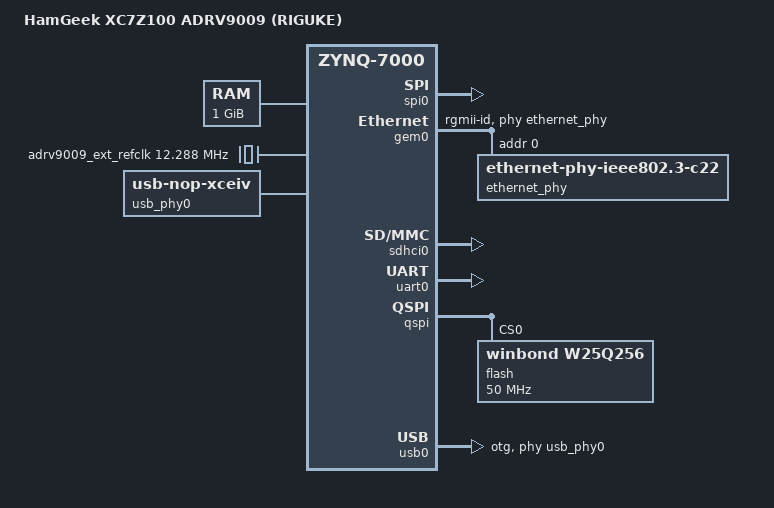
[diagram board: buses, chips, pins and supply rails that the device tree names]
// SPDX-License-Identifier: GPL-2.0
/*
 * Device Tree for the HamGeek XC7Z100 + ADRV9009 carrier ("RIGUKE XC7Z100").
 *
 *   Xilinx Zynq-7100 (XC7Z100, dual Cortex-A9, armhf) + ADI ADRV9009 RF.
 *
 * PS-ONLY, BY DESIGN. This file brings up the processor system so a generic
 * armhf EFI Debian boots off the SD -- 1 GiB DDR, UART0 console (ttyPS0),
 * QSPI (W25Q256), SD (sdhci0), GEM0 RGMII ethernet to a PHY at MDIO addr 0,
 * USB0 OTG (ULPI), and PS SPI0 (the bus the radio's AD9528 + ADRV9009 sit
 * on).
 *
 * THIS FILE MUST STAY PROPERTY-IDENTICAL to U-Boot's
 * arch/arm/dts/zynq-adrv9009.dts (v2026.07/lc-master), because U-Boot hands
 * its built-in control FDT to the kernel through the EFI configuration table
 * -- the tree Linux actually runs on is U-Boot's, not this one. This file is
 * the source of truth and the reference copy; if one changes, change the
 * other.
 *
 * The legitimate differences are EXACTLY these, and this list is EXHAUSTIVE
 * -- it is the mirror of the identically-exhaustive list in U-Boot's copy,
 * and the two must be kept in step. Everything not named here must match
 * property for property (node ORDER may differ; it has no semantic effect):
 *   - bootph-all markers on the PS boot essentials (memory@0, &uart0, &clkc,
 *     &gpio0, &qspi + flash@0, &sdhci0), so fdtgrep keeps them in the
 *     trimmed SPL DTB. &gpio0 exists in U-Boot's copy ONLY to carry that
 *     marker, which is why this tree has no &gpio0 node at all;
 *   - an absolute chosen/stdout-path there ("/axi/serial@e0000000:115200n8")
 *     vs the serial0: alias here, because the fdtgrep-built SPL DTB may drop
 *     /aliases;
 *   - &adc #thermal-sensor-cells and the &devcfg clock override, which exist
 *     there only because U-Boot's zynq-7000.dtsi is kept upstream-clean
 *     while the kernel's carries the equivalent (this tree gets
 *     #thermal-sensor-cells from zynq-7000.dtsi, commit 4bbee7b8de705);
 *   - the efuse@f800d000 node, inert upstream .dtsi content U-Boot inherited
 *     and binds no driver to.
 *
 * Two things that are NOT differences, and must not be reintroduced as such:
 * the /reserved-memory/linux,cma pool below is MIRRORED into U-Boot's copy
 * (7a43d5581a3) and the two are identical property for property; and the QSPI
 * flash node declares NO partition map in EITHER tree -- see the comment on
 * flash@0 for the measurement that removed it.
 *
 * The whole RF datapath is PL-DEPENDENT and lives in the userspace PL overlay
 * (rfsim/tools/adrv9009/adrv9009-pl.dts in the soft8021x repo), applied by
 * /usr/local/bin/adrv9009-fpga-up: the fpga-axi JESD204B subsystem (3x
 * axi-jesd204, 3x axi-adxcvr, 3x axi-clkgen, the adrv9009 rx/tx/obs cores, 3x
 * axi-dmac) AND the two spi0 device nodes. The SPI devices go there too, not
 * here, because the ADRV9009 phy's device clocks (jesd_rx_clk / jesd_tx_clk /
 * jesd_rx_os_clk) are outputs of the PL JESD204B link cores and the AD9528's
 * reset line is an EMIO GPIO -- both are PL. This board boots with a DARK PL
 * (nothing programs it in the bootloader), and describing PL IP in the base
 * DTB is exactly what wedges it (see the plan doc's matched-pair note).
 *
 * PS wiring ground-truthed against the board's stock DTB (decompiled ADI
 * tree): serial0 = serial@e0000000 (UART0, ttyPS0); mmc@e0100000 okay with a
 * working card-detect (no broken-cd); gem0 @e000b000 rgmii-id, PHY@0 c22;
 * qspi @e000d000 W25Q256; clkc fclk-enable = 0xf -- the one place we
 * DELIBERATELY diverge from stock, see the &clkc comment below. Node labels from
 * arch/arm/boot/dts/xilinx/zynq-7000.dtsi. The reduced Zynq armhf config is
 * the shared arch/arm/configs/zynq_e310_defconfig (ARCH_ZYNQ, EFI_STUB, the
 * ttyPS/GEM/SDHCI/QSPI essentials), same as the ANTSDR E310.
 */
/dts-v1/;
#include "zynq-7000.dtsi"
#include <dt-bindings/gpio/gpio.h>

/ {
	model = "HamGeek XC7Z100 ADRV9009 (RIGUKE)";
	compatible = "hamgeek,xc7z100-adrv9009", "xlnx,zynq-7000";

	aliases {
		ethernet0 = &gem0;
		serial0 = &uart0;
		spi0 = &qspi;
		mmc0 = &sdhci0;
	};

	chosen {
		stdout-path = "serial0:115200n8";
	};

	memory@0 {
		device_type = "memory";
		/* 1 GiB -- matches stock + the recovered ps7_init DDR config */
		reg = <0x0 0x40000000>;
	};

	/*
	 * CMA pool, SIZED FOR THIS RADIO -- not inherited.
	 *
	 * Zynq-7000 has NO IOMMU, so every AXI-DMAC buffer in the JESD204B
	 * datapath must be a single PHYSICALLY CONTIGUOUS region, and on this
	 * kernel that means CMA. Without this node the board silently takes the
	 * shared armhf default (CONFIG_CMA_SIZE_MBYTES=64 -- measured on the
	 * running board as "cma: Reserved 64 MiB at 0x39800000", CmaTotal
	 * 65536 kB), which policy treats as a FALLBACK for platforms that have
	 * no DMA sizing decision to make. This board does.
	 *
	 * The 96 MiB is derived from the peak CONCURRENT demand actually
	 * measured on this carrier, not chosen for roundness:
	 *
	 *   32 MiB  RX IIO buffer at the largest buffer/length accepted on
	 *           silicon -- 4194304 scans x 8 B/scan (RX1+RX2 I/Q, le:S16/16),
	 *           swept by adrv9009-rx-ratecheck.sh with the readback equal to
	 *           the request at every step and CMA consumption proportional.
	 *           iio_dma_buffer_request_update() splits it into exactly TWO
	 *           blocks (size = DIV_ROUND_UP(bytes_per_datum * length, 2)), so
	 *           the LARGEST SINGLE contiguous allocation is 16 MiB.
	 *    2 MiB  TX IIO buffer armed at the same time by the end-to-end
	 *           loopback (buffer/length = 262144 scans -> two 1 MiB blocks).
	 *    8 MiB  the cyclic-TX dma-buf. Ungapped playback goes through the IIO
	 *           DMABUF enqueue ioctl, whose exporter here is the CMA dma-buf
	 *           heap (CONFIG_DMABUF_HEAPS_CMA), and the cyclic prep rejects
	 *           nents != 1 -- so it is one contiguous region, sized to the
	 *           8 MiB write the TX datapath was validated with (277 ms,
	 *           TRANSFER_DONE = 0xF).
	 *   ------
	 *   42 MiB  peak concurrent, in units of up to 16 MiB.
	 *
	 * 42 MiB in a 64 MiB pool is 66 % occupancy at 16 MiB granularity, which
	 * leaves no room to place a second max-size block after any churn.
	 * Doubling the peak set and rounding up to a multiple of the largest
	 * single allocation gives 42 x 2 = 84 -> 96 MiB, i.e. 9.4 % of the 1 GiB
	 * on this board. No CMA allocation failure has been OBSERVED at 64 MiB;
	 * this is a sizing decision, not a bug fix.
	 *
	 * NO alloc-ranges, deliberately. All three axi-dmac masters are 32-bit
	 * AXI and the whole 1 GiB (0x0-0x3fffffff) is within their reach, so
	 * unlike Amlogic (whose VDEC must be pinned to the first 1 GB) there is
	 * no address restriction to express -- let the kernel place the pool.
	 * alignment matches CONFIG_CMA_ALIGNMENT=8, i.e. 2^8 pages = 1 MiB.
	 *
	 * linux,cma-default is what makes dma_contiguous_reserve() skip the
	 * Kconfig size: it only applies it "if (selected_size &&
	 * !dma_contiguous_default_area)".
	 *
	 * MUST BE MIRRORED INTO U-BOOT's arch/arm/dts/zynq-adrv9009.dts -- see
	 * the property-identical mandate in this file's header. U-Boot hands its
	 * own control FDT to Linux through the EFI configuration table, so the
	 * tree the kernel actually parses is U-Boot's; a reserved-memory node
	 * that exists only here has NO runtime effect.
	 */
	reserved-memory {
		#address-cells = <1>;
		#size-cells = <1>;
		ranges;

		linux_cma: linux,cma {
			compatible = "shared-dma-pool";
			reusable;
			linux,cma-default;
			size = <0x6000000>;	/* 96 MiB */
			alignment = <0x100000>;	/* 1 MiB */
		};
	};

	/*
	 * The 12.288 MHz board oscillator that feeds the AD9528's REFA input.
	 * PL-independent (a discrete XO on the carrier), so it lives here.
	 * Stock declares it identically at /clocks/clock@0 and, like stock,
	 * nothing references it by phandle -- the AD9528 takes REFA as a
	 * physical input and is told about it through adi,refa-* properties.
	 * Kept for fidelity with the stock design and as documentation of the
	 * reference frequency the AD9528 PLL1 parameters were computed for.
	 */
	adrv9009_ext_refclk: clock-adrv9009-ext-refclk {
		compatible = "fixed-clock";
		#clock-cells = <0>;
		clock-frequency = <12288000>;
		clock-output-names = "adrv9009_ext_refclk";
	};

	/*
	 * The USB0 ULPI transceiver, as a "nop" USB PHY.
	 *
	 * THIS NODE IS WHAT MAKES ci_hdrc BIND -- it is not decoration.
	 * drivers/usb/chipidea/core.c ci_hdrc_probe() ends its PHY search with
	 *
	 *   if (!ci->phy && !ci->usb_phy) { ret = -ENXIO; goto ulpi_exit; }
	 *
	 * so with no USB PHY registered anywhere the ChipIdea CORE fails probe
	 * -- silently, with no dev_err on that path. Measured on this board
	 * before this node existed: /sys/bus/platform/devices/ci_hdrc.0 present
	 * (the chipidea-usb2 glue had bound usb@e0002000 and created the child)
	 * but with NO driver symlink, an EMPTY /sys/kernel/debug/devices_deferred
	 * (so it was a hard failure, not a deferral), no /sys/class/usb_phy/ at
	 * all, and zero ci_hdrc/ulpi lines in dmesg.
	 *
	 * The bind path is the LAST-RESORT lookup in core.c,
	 * devm_usb_get_phy(dev->parent, USB_PHY_TYPE_USB2), which walks the
	 * global usb_phy list -- phy-generic.c registers this node's PHY there
	 * with .type = USB_PHY_TYPE_USB2. The usb-phy phandle below is the
	 * documented binding and matches every mainline Zynq board
	 * (zynq-zc702/zed/cc108/zc770-xm011), though note that ChipIdea itself
	 * consumes "phys", not "usb-phy", for its by-phandle lookup.
	 *
	 * NO reset-gpios, DELIBERATELY -- and this is the one non-obvious part.
	 * The PHY reset IS wired, to MIO46 (that is what xlnx,phy-reset-gpio on
	 * &usb0 records), and the stock FSBL ps7_init pulses it high->low->high
	 * (DIRM_1/OEN_1 bit 14, then MASK_DATA_1_LSW 0xBFFF4000 -> 0xBFFF0000 ->
	 * 0xBFFF4000), i.e. the line is ACTIVE LOW and is left DEASSERTED by the
	 * bootloader. Handing it to phy-generic would be a regression risk, not
	 * a gain: usb_phy_gen_create_phy() does gpiod_direction_output(reset, 1)
	 * -- it ASSERTS reset at ITS OWN probe -- while ci_hdrc_probe() calls
	 * ci_ulpi_init() (which reads the ULPI vendor/product ID through the
	 * controller's ULPI viewport, and whose failure IS fatal:
	 * ulpi_register() propagates ulpi_read_id()'s error) BEFORE it ever
	 * looks up, let alone initialises, the PHY. Device probe order between
	 * this root node and /axi/usb@e0002000 is not guaranteed, so a
	 * driver-owned reset could hold the transceiver down across that ID
	 * read. Mainline's Zynq boards carry a bare usb-nop-xceiv for the same
	 * reason; the reset stays with ps7_init, which already does it right.
	 */
	usb_phy0: phy0 {
		compatible = "usb-nop-xceiv";
		#phy-cells = <0>;
	};

	/*
	 * XC7Z100 die temperature, from the PS XADC (adc@f8007100).
	 *
	 * THIS IS A SHUTDOWN INTERLOCK, NOT A COOLING POLICY. This carrier has
	 * NO FAN and no fan controller, and Zynq-7000 has frequency scaling
	 * only -- no voltage scaling -- so capping cpufreq at idle was measured
	 * to be worth nothing (+0.28 degC, inside the 1.43 degC noise floor of
	 * this instrument). A passive trip would have essentially nothing to
	 * act on, so none is declared. The one thing this zone genuinely buys
	 * is the CRITICAL trip: an orderly emergency shutdown instead of
	 * running the die past its rated junction temperature.
	 *
	 * 85 degC is the maximum junction temperature of the RECOMMENDED
	 * OPERATING RANGE for a commercial temperature-grade part, from Xilinx
	 * DS191 (v1.17, 2015-11-24), "Zynq-7000 All Programmable SoC (Z-7030,
	 * Z-7035, Z-7045, and Z-7100): DC and AC Switching Characteristics",
	 * Table 2 "Recommended Operating Conditions":
	 *
	 *   Tj  Junction temperature operating range for commercial (C)
	 *       temperature devices                       0 -- 85 degC
	 *   (extended (E) 0--100, industrial (I) -40--100,
	 *    expanded (Q) -40--125)
	 *
	 * The temperature grade of the part fitted to this carrier is not
	 * readable in software, so the COMMERCIAL number is used: it is the
	 * lowest of the four and therefore safe whichever grade is installed.
	 * DS191 Table 1 "Absolute Maximum Ratings" gives "Tj Maximum junction
	 * temperature ... +125 degC", but that is a stress/damage rating --
	 * "Stresses beyond those listed under Absolute Maximum Ratings might
	 * cause permanent damage to the device" -- not an operating limit, so
	 * it is deliberately NOT the trip.
	 *
	 * Measured envelope on this board for context: 43-47 degC with the PL
	 * dark, 56-61 degC with the radio and its JESD204B links running.
	 */
	thermal-zones {
		soc-thermal {
			polling-delay-passive = <1000>;
			polling-delay = <5000>;
			thermal-sensors = <&adc>;

			trips {
				soc_crit: soc-crit {
					temperature = <85000>;
					hysteresis = <2000>;
					type = "critical";
				};
			};
		};
	};
};

/*
 * PS SPI0 -- the bus the AD9528 clock chip (CS0) and the ADRV9009 phy (CS1)
 * hang off. The CONTROLLER is a PS peripheral and is enabled here so it is
 * probed at boot; the two SPI DEVICE nodes are PL-dependent and are added by
 * the userspace PL overlay (rfsim/tools/adrv9009/adrv9009-pl.dts) after the
 * bitstream is programmed -- spi.c's of_spi_notify() creates an spi_device for
 * a child added to a live controller, which is why the controller cannot wait.
 */
&spi0 {
	status = "okay";
};

&gem0 {
	status = "okay";
	phy-mode = "rgmii-id";
	phy-handle = <&ethernet_phy>;

	ethernet_phy: ethernet-phy@0 {
		reg = <0>;
		compatible = "ethernet-phy-ieee802.3-c22";
	};
};

&sdhci0 {
	status = "okay";
};

&uart0 {
	status = "okay";
};

&qspi {
	status = "okay";
	is-dual = <1>;
	num-cs = <1>;
	#address-cells = <1>;
	#size-cells = <0>;

	flash@0 {
		compatible = "winbond,w25q256", "jedec,spi-nor";
		reg = <0>;
		spi-tx-bus-width = <1>;
		spi-rx-bus-width = <4>;
		spi-max-frequency = <50000000>;
		#address-cells = <1>;
		#size-cells = <1>;

		/*
		 * BRICK GUARD, do not remove. The W25Q256 is 32 MiB, so 4-byte
		 * addressing is in play by construction. spi_nor_restore() only
		 * issues the EX4B (0xE9) exit-4-byte-mode command when the part is
		 * flagged SNOR_F_BROKEN_RESET, i.e. when this property is present.
		 * Without it, a kernel that has entered 4-byte mode leaves the
		 * flash in 4-byte mode across a warm reset -- and the Zynq BootROM
		 * issues only 3-byte reads, so it cannot fetch the FSBL and the
		 * board is dead until a cold power cycle. That exact failure
		 * bricked the sibling E310 on 2026-07-26.
		 *
		 * We have been spared so far only by luck: 1c1b349fa1d8a reverted
		 * 4-byte addressing in zynq-qspi, and on this board spi-nor does
		 * not even probe (spi0.0 -EINVAL). Both are things that can change
		 * under us; the property is inert if unused.
		 */
		broken-flash-reset;

		/*
		 * NO PARTITION MAP -- deliberately, and this is a REMOVAL, not
		 * an omission. The five stock Xilinx partitions transcribed here
		 * until 2026-07-30 (boot 0x0+0x500000, bootenv 0x500000, config
		 * 0x520000, image 0x540000, spare 0xfc0000) described nothing
		 * that is in the flash.
		 *
		 * Measured byte-for-byte against the vendor BOOT.BIN: ONE
		 * CONTIGUOUS 17 416 352 B PL bitstream occupies
		 * 0x300000-0x139C0A0 -- SHA-256 0b030190...d58e5, byte-identical
		 * to BOOT.BIN partition 1 at BOOT.BIN offset 0x19740. That span
		 * swallows the declared "bootenv" and "config" partitions
		 * ENTIRELY, all of "image", and the first ~4 MiB of "spare". So
		 * an mtd (or DFU) write aimed at what the tree called bootenv or
		 * config would have landed in the middle of the bitstream and
		 * destroyed it, with the DT itself as the thing that made the
		 * write look legitimate.
		 *
		 * Declaring no map is safer than declaring a wrong one -- the
		 * sibling zynq_e310 declares none either. The real layout is
		 * expressed where it is actually acted on, in U-Boot: the DFU
		 * alternate-setting map in
		 * board/xilinx/zynq/zynq-adrv9009/board.c and
		 * CONFIG_NOR_CONFIG_SECTOR_OFFSET in the defconfig, both derived
		 * from that same measurement.
		 *
		 * Removed from U-Boot's copy of this tree first (v2026.07/lc-master
		 * 5d5977cba70); removed here so the two trees agree, per this
		 * file's property-identical mandate.
		 *
		 * Consequence, already visible on silicon: Linux exposes no
		 * mtd0..mtd4, just "mtd0: 02000000 00001000 \"spi0.0\"" -- the
		 * whole device as one mtd, which is what it always physically
		 * was.
		 */
	};
};

/*
 * PL fabric clocks -- FCLK0/FCLK1 only. Stock (and zynq-7000.dtsi's own
 * default is <0>, so this property is a deliberate override) sets 0xf, force-
 * enabling all four: clkc.c passes each set bit into zynq_clk_register_fclk()
 * as `enable`, which clk_prepare_enable()s that FCLK for the lifetime of the
 * system, so clk_disable_unused() can never gate it however few consumers it
 * has.
 *
 * Only FCLK0 and FCLK1 are consumed by this board's design. The runtime PL
 * overlay takes
 * <&clkc 15> (FCLK0) as s_axi_aclk on all three axi-jesd204, all three
 * axi-adxcvr and all three axi-clkgen cores, and <&clkc 16> (FCLK1) for the
 * three axi-dmac cores. NOTHING references <&clkc 17> (FCLK2) or <&clkc 18>
 * (FCLK3) -- not our overlay, and not the stock vendor DT either, whose only
 * reference to those two is devcfg@f8007000 listing all four so the VENDOR
 * xdevcfg driver could gate them around PL programming. Mainline's devcfg node
 * declares only <&clkc 12> (pcap ref_clk) and zynq-fpga.c does
 * devm_clk_get(dev, "ref_clk") and nothing else, so that consumer does not
 * exist for us.
 *
 * Confirmed on silicon (/sys/kernel/debug/clk/, with the radio
 * up and all three JESD204 links in DATA), under the old 0xf:
 *
 *	clock	rate (Hz)	enable_count
 *	fclk0	 99 999 999	7
 *	fclk1	199 999 998	4
 *	fclk2	249 999 998	1	<- clkc's own hold, no consumer
 *	fclk3	 41 666 667	1	<- clkc's own hold, no consumer
 *
 * enable_count=1 on FCLK2/FCLK3 is exactly the driver's force-enable and
 * nothing downstream; FCLK2 is the fastest of the four, so 0xf was clocking a
 * 250 MHz PL clock tree with no destination.
 *
 * This is a correctness/hygiene change and NO thermal benefit is claimed for
 * it; do not assume one.
 *
 * REMINDER: this property must stay identical in U-Boot's
 * arch/arm/dts/zynq-adrv9009.dts -- U-Boot's control FDT is the tree Linux
 * actually parses, so editing only this file changes NOTHING on the board.
 */
&clkc {
	fclk-enable = <0x3>;	/* FCLK0 + FCLK1; FCLK2/FCLK3 have no consumers */
};

/*
 * USB0 (usb@e0002000) -- the Zynq-7000 ChipIdea controller wired to the
 * board's USB-OTG port through a ULPI PHY (phy_type = "ulpi" is inherited
 * from zynq-7000.dtsi). The port physically exists and is PS-side, so it
 * belongs in this PS-only tree; it was wrongly left disabled here.
 *
 * dr_mode = "otg", not stock's "host". This is a genuinely dual-role port
 * and both consumers need it: U-Boot runs the ChipIdea GADGET on it
 * (`ums 0 mmc 0` / dfu / fastboot), which is the board's ONLY working
 * deploy path while GEM0 is RX-dead, and Linux drives it as a host. "host"
 * would cost the deploy path; "otg" satisfies both. U-Boot's copy of this
 * board tree carries the identical node -- and since U-Boot hands Linux its
 * control FDT (fdtcontroladdr, via the EFI configuration table) this node is
 * already what the running kernel sees, proven booting with 0 oopses.
 *
 * xlnx,phy-reset-gpio matches the stock DTB (gpio0 pin 46, active high);
 * mainline Linux ignores it, but it documents the wiring and keeps the two
 * trees property-identical. The stock FSBL's own pulse on that pin is
 * high->low->high, so the line is electrically ACTIVE LOW and is already
 * deasserted by the time Linux runs -- see the usb_phy0 node's comment for
 * why no reset-gpios is handed to the PHY driver.
 *
 * usb-phy is what gives the ChipIdea CORE (ci_hdrc.0) a transceiver to bind
 * against; without a registered USB PHY ci_hdrc_probe() returns -ENXIO and
 * only the glue device appears. See usb_phy0 above.
 */
&usb0 {
	status = "okay";
	dr_mode = "otg";
	usb-phy = <&usb_phy0>;
	xlnx,phy-reset-gpio = <&gpio0 46 GPIO_ACTIVE_HIGH>;
};
